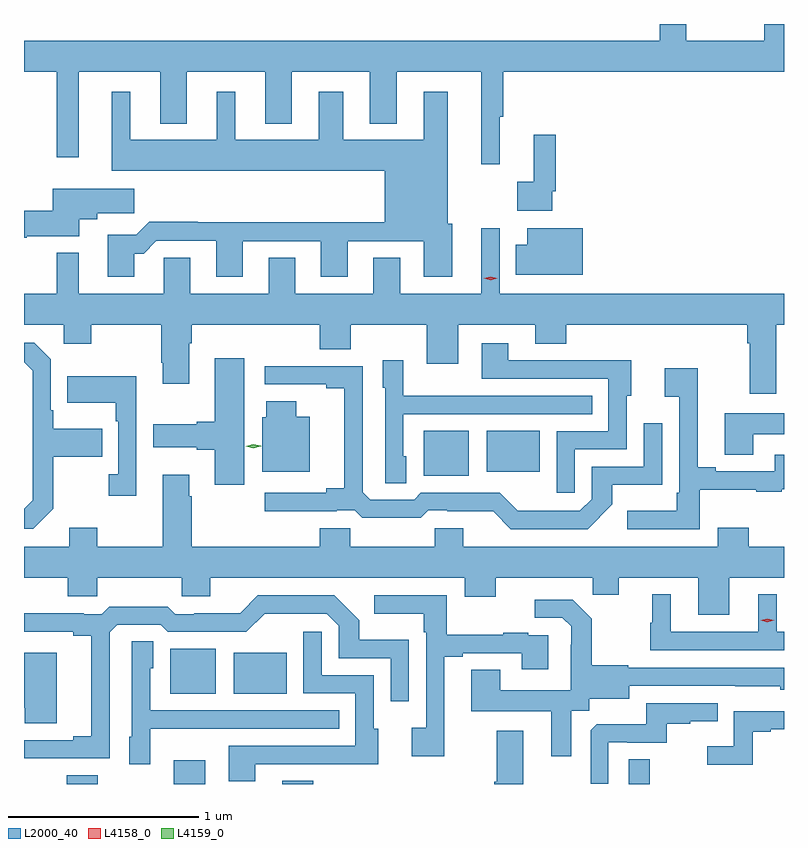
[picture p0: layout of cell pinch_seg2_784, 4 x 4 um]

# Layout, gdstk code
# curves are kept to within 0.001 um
import gdstk
lib = gdstk.Library(unit=1e-6, precision=1e-09)
def R(c, l, rs):  # rectangles x0, y0, x1, y1
    for r in rs: c.add(gdstk.rectangle(r[:2], r[2:], *l))
def P(c, l, *ps):  # polygons
    for p in ps: c.add(gdstk.Polygon(p, *l))
L2000_40 = (2000, 40)
L4158_0 = (4158, 0)
L4159_0 = (4159, 0)

pinch_seg2_784 = lib.new_cell('pinch_seg2_784')
R(pinch_seg2_784, L2000_40, [(657.167,611.919,657.331,611.965), (657.731,611.919,657.895,612.043), (658.301,611.919,658.465,611.935), (660.126,611.919,660.235,612.05), (657.713,612.395,657.952,612.631), (658.046,612.395,658.324,612.61), (659.045,613.541,659.284,613.777), (659.378,613.562,659.656,613.777)])
P(pinch_seg2_784, L2000_40, [(659.447,615.432),(659.465,615.432),(659.465,615.668),(660.942,615.668),(660.942,615.919),(660.839,615.919),(660.839,615.832),(660.427,615.832),(660.427,615.919),(660.287,615.919),(660.287,615.832),(656.942,615.832),(656.942,615.668),(657.115,615.668),(657.115,615.219),(657.229,615.219),(657.229,615.668),(657.659,615.668),(657.659,615.395),(657.799,615.395),(657.799,615.668),(658.211,615.668),(658.211,615.395),(658.351,615.395),(658.351,615.668),(658.763,615.668),(658.763,615.395),(658.903,615.395),(658.903,615.668),(659.348,615.668),(659.348,615.18),(659.447,615.18)],
  [(657.523,614.711),(657.572,614.711),(657.639,614.778),(657.953,614.778),(657.953,614.589),(658.093,614.589),(658.093,614.775),(658.505,614.775),(658.505,614.589),(658.645,614.589),(658.645,614.775),(659.045,614.775),(659.045,614.589),(659.197,614.589),(659.197,614.868),(659.173,614.868),(659.173,615.562),(659.045,615.562),(659.045,615.31),(658.621,615.31),(658.621,615.562),(658.493,615.562),(658.493,615.31),(658.054,615.31),(658.054,615.562),(657.956,615.562),(657.956,615.31),(657.502,615.31),(657.502,615.562),(657.404,615.562),(657.404,615.146),(658.841,615.146),(658.841,614.876),(657.857,614.876),(657.857,614.879),(657.602,614.879),(657.532,614.809),(657.383,614.809),(657.383,614.589),(657.523,614.589)],
  [(659.721,615.04),(659.741,615.04),(659.741,615.337),(659.624,615.337),(659.624,615.089),(659.538,615.089),(659.538,614.936),(659.721,614.936)],
  [(656.956,614.801),(657.232,614.801),(657.232,614.891),(657.328,614.891),(657.328,614.923),(657.523,614.923),(657.523,615.052),(657.092,615.052),(657.092,614.936),(656.942,614.936),(656.942,614.794),(656.956,614.794)],
  [(659.884,614.845),(659.591,614.845),(659.591,614.758),(659.53,614.758),(659.53,614.6),(659.884,614.6)],
  [(660.901,614.336),(660.942,614.336),(660.942,614.5),(659.445,614.5),(659.445,614.845),(659.348,614.845),(659.348,614.5),(658.921,614.5),(658.921,614.69),(658.781,614.69),(658.781,614.5),(658.369,614.5),(658.369,614.69),(658.229,614.69),(658.229,614.5),(657.817,614.5),(657.817,614.69),(657.678,614.69),(657.678,614.5),(657.229,614.5),(657.229,614.716),(657.115,614.716),(657.115,614.5),(656.942,614.5),(656.942,614.336),(657.15,614.336),(657.15,614.237),(657.297,614.237),(657.297,614.336),(657.664,614.336),(657.664,614.137),(657.671,614.137),(657.671,614.025),(657.811,614.025),(657.811,614.24),(657.824,614.24),(657.824,614.336),(658.499,614.336),(658.499,614.208),(658.663,614.208),(658.663,614.336),(659.063,614.336),(659.063,614.13),(659.227,614.13),(659.227,614.336),(659.633,614.336),(659.633,614.237),(659.797,614.237),(659.797,614.336),(660.749,614.336),(660.749,614.24),(660.761,614.24),(660.761,613.974),(660.901,613.974)],
  [(657.097,613.369),(657.097,613.642),(657.353,613.642),(657.353,613.789),(657.097,613.789),(657.097,613.885),(657.084,613.885),(657.084,614.154),(656.997,614.241),(656.942,614.241),(656.942,614.14),(656.988,614.094),(656.988,613.413),(656.942,613.367),(656.942,613.263),(656.991,613.263)],
  [(659.841,613.68),(660.114,613.68),(660.114,613.962),(660.139,613.962),(660.139,614.15),(659.921,614.15),(659.921,614.148),(659.491,614.148),(659.491,614.239),(659.351,614.239),(659.351,614.052),(660.018,614.052),(660.018,613.776),(659.745,613.776),(659.745,613.452),(659.841,613.452)],
  [(658.102,614.161),(657.947,614.161),(657.947,613.826),(657.851,613.826),(657.851,613.813),(657.621,613.813),(657.621,613.691),(657.851,613.691),(657.851,613.679),(657.947,613.679),(657.947,613.494),(658.102,613.494)],
  [(658.954,613.644),(658.938,613.644),(658.938,613.866),(659.933,613.866),(659.933,613.962),(659.255,613.962),(659.255,613.963),(658.938,613.963),(658.938,614.149),(658.829,614.149),(658.829,614.004),(658.842,614.004),(658.842,613.501),(658.954,613.501)],
  [(660.039,613.391),(660.039,613.493),(660.3,613.493),(660.3,613.819),(660.204,613.819),(660.204,613.59),(659.931,613.59),(659.931,613.419),(659.868,613.356),(659.644,613.356),(659.644,613.358),(659.54,613.358),(659.445,613.452),(659.031,613.452),(658.995,613.416),(658.764,613.416),(658.725,613.455),(658.725,614.118),(658.209,614.118),(658.209,614.022),(658.532,614.022),(658.532,614.002),(658.628,614.002),(658.628,613.475),(658.532,613.475),(658.532,613.452),(658.209,613.452),(658.209,613.355),(658.589,613.355),(658.589,613.359),(658.683,613.359),(658.723,613.32),(659.031,613.32),(659.07,613.359),(659.17,613.359),(659.17,613.355),(659.411,613.355),(659.505,613.26),(659.908,613.26)],
  [(660.499,613.469),(660.797,613.469),(660.797,613.458),(660.929,613.458),(660.929,613.47),(660.942,613.47),(660.942,613.651),(660.893,613.651),(660.893,613.566),(660.583,613.566),(660.583,613.585),(660.487,613.585),(660.487,614.107),(660.315,614.107),(660.315,613.958),(660.39,613.958),(660.39,613.453),(660.378,613.453),(660.378,613.357),(660.117,613.357),(660.117,613.26),(660.499,613.26)],
  [(657.534,614.065),(657.169,614.065),(657.169,613.925),(657.426,613.925),(657.426,613.829),(657.438,613.829),(657.438,613.55),(657.387,613.55),(657.387,613.437),(657.534,613.437)],
  [(658.447,613.852),(658.375,613.852),(658.375,613.933),(658.217,613.933),(658.217,613.848),(658.196,613.848),(658.196,613.562),(658.447,613.562)],
  [(660.781,613.76),(660.942,613.76),(660.942,613.87),(660.629,613.87),(660.629,613.651),(660.781,613.651)],
  [(660.655,613.004),(660.942,613.004),(660.942,613.168),(660.757,613.168),(660.757,613.267),(660.593,613.267),(660.593,613.168),(659.254,613.168),(659.254,613.266),(659.104,613.266),(659.104,613.168),(658.659,613.168),(658.659,613.266),(658.499,613.266),(658.499,613.168),(657.824,613.168),(657.824,613.433),(657.811,613.433),(657.811,613.546),(657.671,613.546),(657.671,613.168),(657.327,613.168),(657.327,613.267),(657.179,613.267),(657.179,613.168),(656.942,613.168),(656.942,613.004),(657.172,613.004),(657.172,612.906),(657.327,612.906),(657.327,613.004),(657.772,613.004),(657.772,612.906),(657.922,612.906),(657.922,613.004),(659.261,613.004),(659.261,612.905),(659.425,612.905),(659.425,613.004),(659.935,613.004),(659.935,612.914),(660.073,612.914),(660.073,613.004),(660.491,613.004),(660.491,612.81),(660.655,612.81)],
  [(660.942,612.72),(660.904,612.72),(660.904,612.919),(660.806,612.919),(660.806,612.72),(660.346,612.72),(660.346,612.919),(660.248,612.919),(660.248,612.768),(660.237,612.768),(660.237,612.624),(660.942,612.624)],
  [(657.393,612.717),(657.432,612.756),(657.663,612.756),(657.699,612.72),(658.113,612.72),(658.208,612.815),(658.536,612.816),(658.599,612.753),(658.599,612.582),(658.872,612.582),(658.872,612.354),(658.968,612.354),(658.968,612.679),(658.707,612.679),(658.707,612.782),(658.576,612.912),(658.173,612.912),(658.079,612.818),(657.838,612.818),(657.838,612.813),(657.738,612.813),(657.699,612.853),(657.391,612.853),(657.351,612.813),(657.257,612.813),(657.257,612.818),(656.942,612.818),(656.942,612.72),(657.2,612.72),(657.2,612.698),(657.296,612.698),(657.296,612.17),(657.2,612.17),(657.2,612.15),(656.942,612.15),(656.942,612.054),(657.393,612.054)],
  [(659.155,612.588),(659.251,612.588),(659.251,612.606),(659.561,612.606),(659.561,612.522),(659.701,612.522),(659.701,612.702),(659.597,612.702),(659.597,612.715),(659.465,612.715),(659.465,612.704),(659.167,612.704),(659.167,612.912),(658.785,612.912),(658.785,612.815),(659.046,612.815),(659.046,612.719),(659.058,612.719),(659.058,612.214),(658.983,612.214),(658.983,612.066),(659.155,612.066)],
  [(659.821,612.304),(659.916,612.304),(659.916,612.368),(660.127,612.368),(660.127,612.435),(660.921,612.434),(660.921,612.416),(660.942,612.416),(660.942,612.531),(660.123,612.531),(660.123,612.544),(659.931,612.544),(659.931,612.789),(659.831,612.889),(659.631,612.889),(659.631,612.795),(659.775,612.795),(659.822,612.748),(659.822,612.653),(659.82,612.653),(659.82,612.412),(659.449,612.412),(659.449,612.521),(659.297,612.521),(659.297,612.302),(659.717,612.302),(659.717,612.066),(659.821,612.066)],
  [(658.159,612.024),(658.589,612.024),(658.589,612.023),(658.807,612.023),(658.807,612.21),(658.782,612.21),(658.782,612.492),(658.509,612.492),(658.509,612.721),(658.413,612.721),(658.413,612.396),(658.686,612.396),(658.686,612.12),(658.019,612.12),(658.019,611.934),(658.159,611.934)],
  [(657.606,612.209),(657.923,612.209),(657.923,612.21),(658.601,612.21),(658.601,612.306),(657.606,612.306),(657.606,612.528),(657.622,612.528),(657.622,612.671),(657.51,612.671),(657.51,612.168),(657.497,612.168),(657.497,612.024),(657.606,612.024)],
  [(657.115,612.61),(656.942,612.61),(656.942,612.32),(656.945,612.32),(656.945,612.24),(657.115,612.24)],
  [(660.018,612.138),(660.118,612.138),(660.118,612.135),(660.326,612.135),(660.326,612.237),(660.449,612.237),(660.449,612.248),(660.593,612.248),(660.593,612.345),(660.216,612.345),(660.216,612.233),(659.957,612.233),(659.925,612.201),(659.925,611.921),(660.018,611.921)],
  [(660.777,612.195),(660.871,612.195),(660.871,612.207),(660.942,612.207),(660.942,612.303),(660.678,612.303),(660.678,612.118),(660.537,612.118),(660.537,612.02),(660.777,612.02)],
  [(659.569,612.199),(659.429,612.199),(659.429,611.932),(659.417,611.932),(659.417,611.919),(659.569,611.919)])
P(pinch_seg2_784, L4158_0, [(660.855,612.77),(660.819,612.78),(660.819,612.78),(660.819,612.781),(660.855,612.79),(660.891,612.781),(660.891,612.78),(660.891,612.78)],
  [(659.398,614.57),(659.363,614.58),(659.362,614.58),(659.363,614.58),(659.398,614.59),(659.432,614.58),(659.432,614.58),(659.432,614.58)])
P(pinch_seg2_784, L4159_0, [(658.149,613.687),(658.108,613.696),(658.108,613.696),(658.108,613.696),(658.148,613.707),(658.189,613.698),(658.19,613.697),(658.189,613.697)])

lib.write_gds('pinch_seg2_784.gds')
